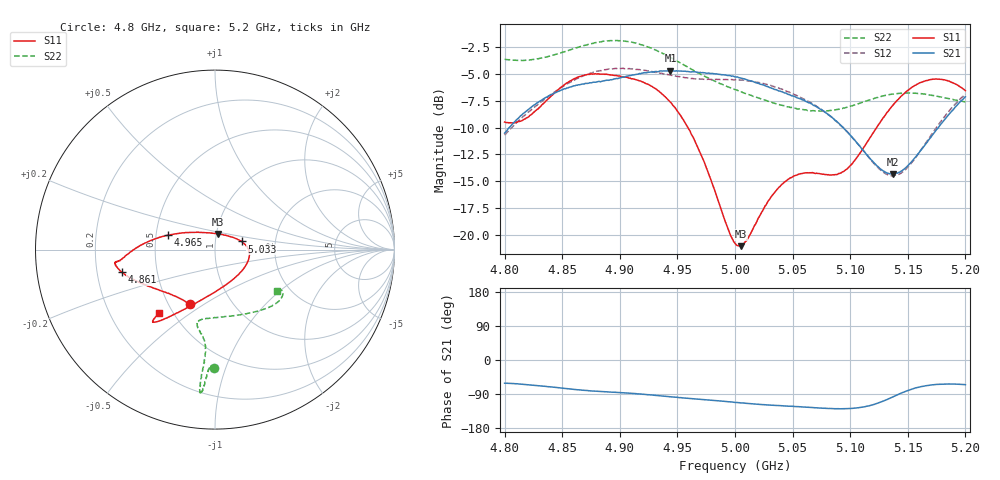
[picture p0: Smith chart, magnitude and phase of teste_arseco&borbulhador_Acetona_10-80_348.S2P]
! Network Analyzer HP8722D
! Hewlett-Packard
! Data name: Linha & Wilkinson
! Saver's name: Rodrigo Anjos
! Comments: Teste da utilização de aquisição
! continua pelo VNA HP8722D
! Time and date: 17/4/2025 17:15
!  Frequency  S11  S21  S12  S22
# HZ  S  MA R 50
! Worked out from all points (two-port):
!   401 points, 4.8 GHz to 5.2 GHz, reference 50 ohm
!   highest |S21| = -4.71 dB at 4.944 GHz (marker M1); lowest = -14.3 dB at 5.137 GHz (marker M2)
!   |S21| within 3 dB of the highest: 4.828 GHz to 5.065 GHz (237 MHz wide, 4.79 % of centre); 5.194526 GHz to end of sweep
!   lowest |S11| = -21.0 dB at 5.005 GHz (marker M3), VSWR 1.20, Z = 51.1 + j8.96 ohm
!   |S11| at or under -10 dB: 4.959 GHz to 5.123 GHz (163.8 MHz wide, 3.25 % of centre)
!   |S22| runs from -8.5 to -1.9 dB; largest |S21 - S12| = 0.87
!   S11 on the Smith chart (normalised r, x): 4.8 GHz: 0.64, -0.44; 4.861 GHz: 0.31, -0.11; 4.965 GHz: 0.58, +0.10; 5.033 GHz: 1.34, +0.12; 5.2 GHz: 0.42, -0.38
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4.8e9  0.3356 -114.7  0.298 -61.1  0.2919 -175.4  0.657 -90.4
4.819e9  0.3511 -134.7  0.3773 -64.8  0.3666 -174.3  0.6509 -91.9
4.861e9  0.5352 -166.5  0.4943 -77.8  0.528 -177.6  0.7383 -94.4
4.867e9  0.5493 -168.8  0.5027 -79.6  0.5461 -178.8  0.7569 -94.5
4.899e9  0.5492 -173.1  0.5358 -85.9  0.5939 174.8  0.8009 -95.9
4.934e9  0.4665 -178.9  0.5769 -94.2  0.5698 171.3  0.712 -96.1
4.944e9  0.4148 176.7  0.5817 -97.1  0.5543 171.3  0.6699 -95.7
4.965e9  0.2752 163.1  0.5752 -102.6  0.5332 173.2  0.5787 -95.3
5e9  0.09171 97.1  0.5441 -111.9  0.5291 175.5  0.4745 -99.2
5.005e9  0.08892 77.8  0.5365 -113.2  0.5257 175.5  0.4625 -100.2
5.011e9  0.09629 57.2  0.5263 -114.6  0.5208 175.5  0.452 -101.8
5.033e9  0.1548 17.0  0.4799 -119.5  0.4921 174.2  0.4119 -103.5
5.049e9  0.1854 1.0  0.4449 -122.1  0.4563 173.7  0.3925 -99.5
5.067e9  0.1954 -18.2  0.4063 -125.4  0.4088 173.2  0.379 -89.9
5.086e9  0.1909 -48.7  0.3462 -128.6  0.3458 173.7  0.3814 -75.4
5.097e9  0.2026 -70.6  0.3036 -128.5  0.3043 174.8  0.3926 -66.6
5.122e9  0.3112 -108.9  0.2136 -115.9  0.2114 -170.7  0.4339 -49.1
5.134e9  0.3835 -118.2  0.1931 -101.5  0.1893 -154.5  0.4504 -43.1
5.137e9  0.4009 -120.0  0.1921 -97.6  0.189 -149.7  0.4528 -41.9
5.15e9  0.4704 -125.7  0.2103 -80.6  0.2071 -130.2  0.4578 -37.0
5.17e9  0.5293 -130.1  0.2848 -66.0  0.2908 -112.2  0.4477 -32.3
5.2e9  0.4693 -131.4  0.4397 -65.2  0.4516 -107.2  0.4157 -33.9
